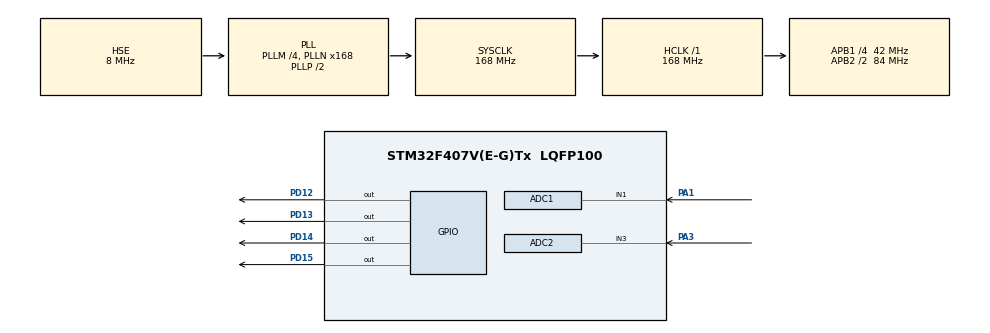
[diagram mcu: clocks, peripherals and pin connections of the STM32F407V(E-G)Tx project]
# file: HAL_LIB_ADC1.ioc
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ADC1.Channel-2\#ChannelRegularConversion=ADC_CHANNEL_1
ADC1.ClockPrescaler=ADC_CLOCK_SYNC_PCLK_DIV8
ADC1.ContinuousConvMode=ENABLE
ADC1.NbrOfConversionFlag=1
ADC1.Rank-2\#ChannelRegularConversion=1
ADC1.Resolution=ADC_RESOLUTION_12B
ADC1.SamplingTime-2\#ChannelRegularConversion=ADC_SAMPLETIME_3CYCLES
ADC1.master=1
ADC2.Channel-4\#ChannelRegularConversion=ADC_CHANNEL_3
ADC2.ClockPrescaler=ADC_CLOCK_SYNC_PCLK_DIV8
ADC2.NbrOfConversionFlag=1
ADC2.Rank-4\#ChannelRegularConversion=1
ADC2.SamplingTime-4\#ChannelRegularConversion=ADC_SAMPLETIME_3CYCLES
Mcu.Family=STM32F4
Mcu.Name=STM32F407V(E-G)Tx
Mcu.Package=LQFP100
NVIC.PriorityGroup=NVIC_PRIORITYGROUP_4
PA1.Signal=ADCx_IN1
PA3.Signal=ADCx_IN3
PD12.GPIO_Speed=GPIO_SPEED_FREQ_VERY_HIGH
PD12.Signal=GPIO_Output
PD13.GPIO_Speed=GPIO_SPEED_FREQ_VERY_HIGH
PD13.Signal=GPIO_Output
PD14.GPIO_Speed=GPIO_SPEED_FREQ_VERY_HIGH
PD14.Signal=GPIO_Output
PD15.GPIO_Speed=GPIO_SPEED_FREQ_VERY_HIGH
PD15.Signal=GPIO_Output
PH0-OSC_IN.Mode=HSE-External-Oscillator
PH0-OSC_IN.Signal=RCC_OSC_IN
PH1-OSC_OUT.Mode=HSE-External-Oscillator
PH1-OSC_OUT.Signal=RCC_OSC_OUT
ProjectManager.HeapSize=0x200
ProjectManager.StackSize=0x400
ProjectManager.TargetToolchain=STM32CubeIDE
RCC.48MHZClocksFreq_Value=84000000
RCC.AHBFreq_Value=168000000
RCC.APB1CLKDivider=RCC_HCLK_DIV4
RCC.APB1Freq_Value=42000000
RCC.APB1TimFreq_Value=84000000
RCC.APB2CLKDivider=RCC_HCLK_DIV2
RCC.APB2Freq_Value=84000000
RCC.APB2TimFreq_Value=168000000
RCC.CortexFreq_Value=168000000
RCC.HCLKFreq_Value=168000000
RCC.HSE_VALUE=8000000
RCC.HSI_VALUE=16000000
RCC.LSE_VALUE=32768
RCC.PLLM=4
RCC.PLLN=168
RCC.PLLSourceVirtual=RCC_PLLSOURCE_HSE
RCC.SYSCLKFreq_VALUE=168000000
RCC.SYSCLKSource=RCC_SYSCLKSOURCE_PLLCLK
RCC.VCOOutputFreq_Value=336000000
SH.ADCx_IN1.0=ADC1_IN1,IN1
SH.ADCx_IN3.0=ADC2_IN3,IN3
board=custom

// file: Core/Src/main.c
/* USER CODE BEGIN Header */
/**
  ******************************************************************************
  * @file           : main.c
  * @brief          : Main program body
  ******************************************************************************
  * @attention
  *
  * <h2><center>&copy; Copyright (c) 2021 STMicroelectronics.
  * All rights reserved.</center></h2>
  *
  * This software component is licensed by ST under BSD 3-Clause license,
  * the "License"; You may not use this file except in compliance with the
  * License. You may obtain a copy of the License at:
  *                        opensource.org/licenses/BSD-3-Clause
  *
  ******************************************************************************
  */
/* USER CODE END Header */
#include "main.h"

/* USER CODE BEGIN Includes */
uint16_t adc_deger1;
uint16_t adc_deger2;
/* USER CODE END Includes */

ADC_HandleTypeDef hadc1;
ADC_HandleTypeDef hadc2;

void SystemClock_Config(void);
static void MX_GPIO_Init(void);
static void MX_ADC1_Init(void);
static void MX_ADC2_Init(void);

/* USER CODE BEGIN 0 */
void adcOku1(){
	HAL_ADC_Start(&hadc1);
	if(HAL_ADC_PollForConversion(&hadc1, 100000)==HAL_OK){
		adc_deger1 = HAL_ADC_GetValue(&hadc1);

		HAL_ADC_Stop(&hadc1);
	}
}

void adcOku2(){
	HAL_ADC_Start(&hadc2);
	if(HAL_ADC_PollForConversion(&hadc2, 100000)==HAL_OK){
		adc_deger2 = HAL_ADC_GetValue(&hadc2);

		HAL_ADC_Stop(&hadc2);
	}
}
void led1(uint32_t adc1){
	uint32_t a;
	a=adc1;
	  if (a < 400){
		  HAL_GPIO_WritePin(GPIOD, GPIO_PIN_12, GPIO_PIN_SET);
		  HAL_GPIO_WritePin(GPIOD, GPIO_PIN_14, GPIO_PIN_RESET);
	  }
	  else if(a > 600){
		  HAL_GPIO_WritePin(GPIOD, GPIO_PIN_12, GPIO_PIN_RESET);
		  HAL_GPIO_WritePin(GPIOD, GPIO_PIN_14, GPIO_PIN_SET);
	  }
	  else{
		  HAL_GPIO_WritePin(GPIOD, GPIO_PIN_12, GPIO_PIN_RESET);
		  HAL_GPIO_WritePin(GPIOD, GPIO_PIN_14, GPIO_PIN_RESET);
	  }

}
void led2(uint32_t adc2){
	uint32_t b;
	b=adc2;
	  if (b < 1800){
		  HAL_GPIO_WritePin(GPIOD, GPIO_PIN_13, GPIO_PIN_SET);
		  HAL_GPIO_WritePin(GPIOD, GPIO_PIN_15, GPIO_PIN_RESET);
	  }
	  else if(b > 2200){
		  HAL_GPIO_WritePin(GPIOD, GPIO_PIN_13, GPIO_PIN_RESET);
		  HAL_GPIO_WritePin(GPIOD, GPIO_PIN_15, GPIO_PIN_SET);
	  }
	  else {
		  HAL_GPIO_WritePin(GPIOD, GPIO_PIN_13, GPIO_PIN_RESET);
		  HAL_GPIO_WritePin(GPIOD, GPIO_PIN_15, GPIO_PIN_RESET);
	  }
}

/* USER CODE END 0 */

int main(void)
{

  /* MCU Configuration--------------------------------------------------------*/

  /* Reset of all peripherals, Initializes the Flash interface and the Systick. */
  HAL_Init();

  /* Configure the system clock */
  SystemClock_Config();

  /* Initialize all configured peripherals */
  MX_GPIO_Init();
  MX_ADC1_Init();
  MX_ADC2_Init();

  /* Infinite loop */
  while (1)
  {

    /* USER CODE BEGIN 3 */
	  adcOku1();
	  adcOku2();
	  led1(adc_deger1);
	  led2(adc_deger2);

  }
  /* USER CODE END 3 */
}

void SystemClock_Config(void)
{
  RCC_OscInitTypeDef RCC_OscInitStruct = {0};
  RCC_ClkInitTypeDef RCC_ClkInitStruct = {0};

  /** Configure the main internal regulator output voltage
  */
  __HAL_RCC_PWR_CLK_ENABLE();
  __HAL_PWR_VOLTAGESCALING_CONFIG(PWR_REGULATOR_VOLTAGE_SCALE1);
  /** Initializes the RCC Oscillators according to the specified parameters
  * in the RCC_OscInitTypeDef structure.
  */
  RCC_OscInitStruct.OscillatorType = RCC_OSCILLATORTYPE_HSE;
  RCC_OscInitStruct.HSEState = RCC_HSE_ON;
  RCC_OscInitStruct.PLL.PLLState = RCC_PLL_ON;
  RCC_OscInitStruct.PLL.PLLSource = RCC_PLLSOURCE_HSE;
  RCC_OscInitStruct.PLL.PLLM = 4;
  RCC_OscInitStruct.PLL.PLLN = 168;
  RCC_OscInitStruct.PLL.PLLP = RCC_PLLP_DIV2;
  RCC_OscInitStruct.PLL.PLLQ = 4;
  if (HAL_RCC_OscConfig(&RCC_OscInitStruct) != HAL_OK)
  {
    Error_Handler();
  }
  /** Initializes the CPU, AHB and APB buses clocks
  */
  RCC_ClkInitStruct.ClockType = RCC_CLOCKTYPE_HCLK|RCC_CLOCKTYPE_SYSCLK
                              |RCC_CLOCKTYPE_PCLK1|RCC_CLOCKTYPE_PCLK2;
  RCC_ClkInitStruct.SYSCLKSource = RCC_SYSCLKSOURCE_PLLCLK;
  RCC_ClkInitStruct.AHBCLKDivider = RCC_SYSCLK_DIV1;
  RCC_ClkInitStruct.APB1CLKDivider = RCC_HCLK_DIV4;
  RCC_ClkInitStruct.APB2CLKDivider = RCC_HCLK_DIV2;

  if (HAL_RCC_ClockConfig(&RCC_ClkInitStruct, FLASH_LATENCY_5) != HAL_OK)
  {
    Error_Handler();
  }
}

static void MX_ADC1_Init(void)
{

  ADC_ChannelConfTypeDef sConfig = {0};

  /** Configure the global features of the ADC (Clock, Resolution, Data Alignment and number of conversion)
  */
  hadc1.Instance = ADC1;
  hadc1.Init.ClockPrescaler = ADC_CLOCK_SYNC_PCLK_DIV8;
  hadc1.Init.Resolution = ADC_RESOLUTION_12B;
  hadc1.Init.ScanConvMode = DISABLE;
  hadc1.Init.ContinuousConvMode = ENABLE;
  hadc1.Init.DiscontinuousConvMode = DISABLE;
  hadc1.Init.ExternalTrigConvEdge = ADC_EXTERNALTRIGCONVEDGE_NONE;
  hadc1.Init.ExternalTrigConv = ADC_SOFTWARE_START;
  hadc1.Init.DataAlign = ADC_DATAALIGN_RIGHT;
  hadc1.Init.NbrOfConversion = 1;
  hadc1.Init.DMAContinuousRequests = DISABLE;
  hadc1.Init.EOCSelection = ADC_EOC_SINGLE_CONV;
  if (HAL_ADC_Init(&hadc1) != HAL_OK)
  {
    Error_Handler();
  }
  /** Configure for the selected ADC regular channel its corresponding rank in the sequencer and its sample time.
  */
  sConfig.Channel = ADC_CHANNEL_1;
  sConfig.Rank = 1;
  sConfig.SamplingTime = ADC_SAMPLETIME_3CYCLES;
  if (HAL_ADC_ConfigChannel(&hadc1, &sConfig) != HAL_OK)
  {
    Error_Handler();
  }

}

static void MX_ADC2_Init(void)
{

  ADC_ChannelConfTypeDef sConfig = {0};

  /** Configure the global features of the ADC (Clock, Resolution, Data Alignment and number of conversion)
  */
  hadc2.Instance = ADC2;
  hadc2.Init.ClockPrescaler = ADC_CLOCK_SYNC_PCLK_DIV8;
  hadc2.Init.Resolution = ADC_RESOLUTION_12B;
  hadc2.Init.ScanConvMode = DISABLE;
  hadc2.Init.ContinuousConvMode = ENABLE;
  hadc2.Init.DiscontinuousConvMode = DISABLE;
  hadc2.Init.ExternalTrigConvEdge = ADC_EXTERNALTRIGCONVEDGE_NONE;
  hadc2.Init.ExternalTrigConv = ADC_SOFTWARE_START;
  hadc2.Init.DataAlign = ADC_DATAALIGN_RIGHT;
  hadc2.Init.NbrOfConversion = 1;
  hadc2.Init.DMAContinuousRequests = DISABLE;
  hadc2.Init.EOCSelection = ADC_EOC_SINGLE_CONV;
  if (HAL_ADC_Init(&hadc2) != HAL_OK)
  {
    Error_Handler();
  }
  /** Configure for the selected ADC regular channel its corresponding rank in the sequencer and its sample time.
  */
  sConfig.Channel = ADC_CHANNEL_3;
  sConfig.Rank = 1;
  sConfig.SamplingTime = ADC_SAMPLETIME_3CYCLES;
  if (HAL_ADC_ConfigChannel(&hadc2, &sConfig) != HAL_OK)
  {
    Error_Handler();
  }

}

static void MX_GPIO_Init(void)
{
  GPIO_InitTypeDef GPIO_InitStruct = {0};

  /* GPIO Ports Clock Enable */
  __HAL_RCC_GPIOH_CLK_ENABLE();
  __HAL_RCC_GPIOA_CLK_ENABLE();
  __HAL_RCC_GPIOD_CLK_ENABLE();

  /*Configure GPIO pin Output Level */
  HAL_GPIO_WritePin(GPIOD, GPIO_PIN_12|GPIO_PIN_13|GPIO_PIN_14|GPIO_PIN_15, GPIO_PIN_RESET);

  /*Configure GPIO pins : PD12 PD13 PD14 PD15 */
  GPIO_InitStruct.Pin = GPIO_PIN_12|GPIO_PIN_13|GPIO_PIN_14|GPIO_PIN_15;
  GPIO_InitStruct.Mode = GPIO_MODE_OUTPUT_PP;
  GPIO_InitStruct.Pull = GPIO_NOPULL;
  GPIO_InitStruct.Speed = GPIO_SPEED_FREQ_VERY_HIGH;
  HAL_GPIO_Init(GPIOD, &GPIO_InitStruct);

}

void Error_Handler(void)
{
  __disable_irq();
  while (1)
  {
  }
}

/************************ (C) COPYRIGHT STMicroelectronics *****END OF FILE****/
